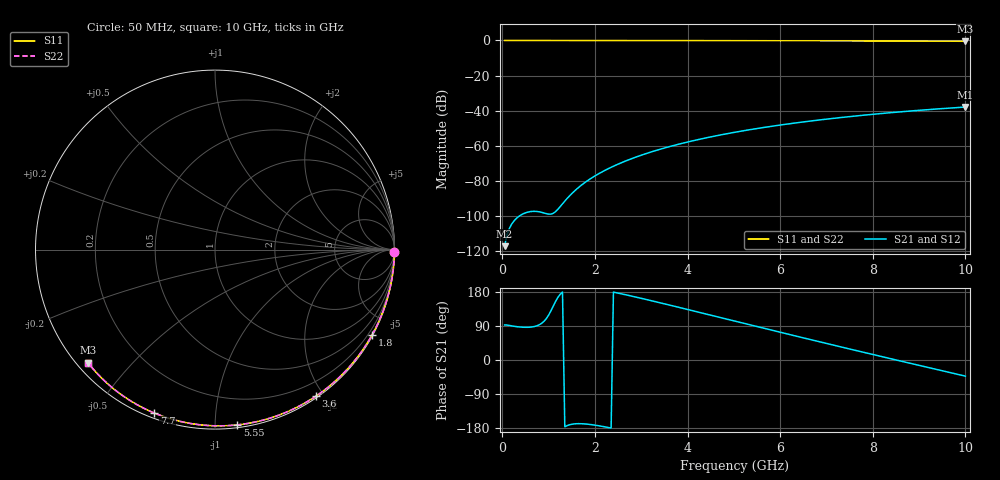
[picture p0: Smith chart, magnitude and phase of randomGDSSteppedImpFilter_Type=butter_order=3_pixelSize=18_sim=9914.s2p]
! freq	dB(S11)	phase(S11)	dB(S12)	phase(S12)
!  dB(S21)	phase(S21)	dB(S22)	phase(S22)
!S-par simulation data
#  GHz  S  DB  R 50
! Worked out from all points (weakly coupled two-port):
!   200 points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, 50 MHz to 10 GHz, reference 50 ohm
!   highest |S21| = -37.99 dB at 10 GHz (marker M1); lowest = -117.3 dB at 50 MHz (marker M2)
!   lowest |S11| = -0.5 dB at 10 GHz (marker M3), VSWR 37.12, Z = 1.54 - j19 ohm
!   |S11| at or under -10 dB: nowhere
!   |S22| runs from -0.5 to 0.0 dB; largest |S21 - S12| = 0
!   S11 on the Smith chart (normalised r, x): 50 MHz: open; 1.8 GHz: 0.03, -3.95; 3.6 GHz: 0.02, -1.90; 5.55 GHz: 0.02, -1.14; 7.7 GHz: 0.02, -0.69; 10 GHz: 0.03, -0.38
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0.05  -0.00 -0.8  -117.34 92.5  -117.34 92.5  -0.00 -0.8
0.45  -0.01 -7.2  -98.89 86.4  -98.89 86.4  -0.01 -7.2
0.9  -0.02 -14.3  -98.43 102.0  -98.43 102.0  -0.02 -14.3
1.75  -0.04 -27.6  -81.70 -168.4  -81.70 -168.4  -0.04 -27.6
1.8  -0.04 -28.4  -80.73 -168.9  -80.73 -168.9  -0.04 -28.4
1.85  -0.04 -29.2  -79.81 -169.5  -79.81 -169.5  -0.04 -29.2
2  -0.04 -31.5  -77.28 -171.9  -77.28 -171.9  -0.04 -31.5
2.15  -0.04 -33.8  -75.02 -175.0  -75.02 -175.0  -0.04 -33.8
2.35  -0.05 -36.8  -72.35 -179.6  -72.35 -179.6  -0.05 -36.8
2.55  -0.05 -39.9  -69.98 175.2  -69.98 175.2  -0.05 -39.9
2.95  -0.06 -45.9  -65.92 164.2  -65.92 164.2  -0.06 -45.9
3.4  -0.07 -52.5  -62.11 151.2  -62.11 151.2  -0.07 -52.5
3.6  -0.07 -55.4  -60.62 145.3  -60.62 145.3  -0.07 -55.4
4.3  -0.09 -65.5  -56.13 124.4  -56.13 124.4  -0.09 -65.5
5.05  -0.12 -75.9  -52.23 101.8  -52.23 101.8  -0.12 -75.9
5.55  -0.14 -82.7  -50.02 86.7  -50.02 86.7  -0.14 -82.7
6.1  -0.16 -90.0  -47.88 70.3  -47.88 70.3  -0.16 -90.0
6.7  -0.19 -97.8  -45.82 52.5  -45.82 52.5  -0.19 -97.8
7.7  -0.25 -110.4  -42.90 23.2  -42.90 23.2  -0.25 -110.4
8.35  -0.30 -118.4  -41.28 4.4  -41.28 4.4  -0.30 -118.4
9.2  -0.38 -128.7  -39.44 -19.9  -39.44 -19.9  -0.38 -128.7
10  -0.47 -138.4  -37.99 -42.6  -37.99 -42.6  -0.47 -138.4
